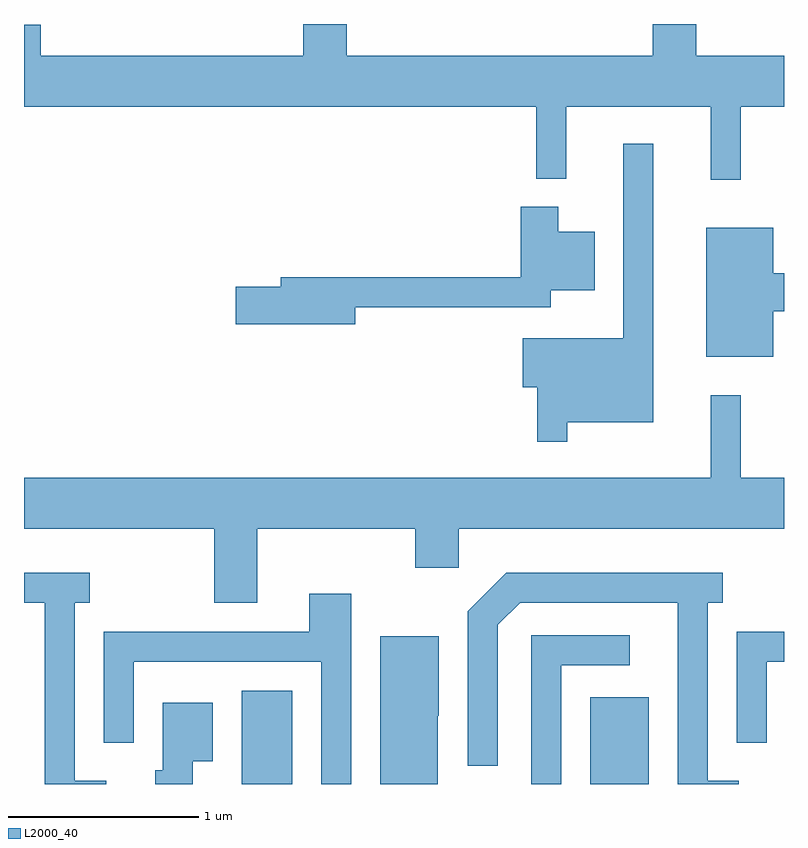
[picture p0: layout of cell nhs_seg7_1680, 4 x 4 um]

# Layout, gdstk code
import gdstk
lib = gdstk.Library(unit=1e-6, precision=1e-09)
def R(c, l, rs):  # rectangles x0, y0, x1, y1
    for r in rs: c.add(gdstk.rectangle(r[:2], r[2:], *l))
def P(c, l, *ps):  # polygons
    for p in ps: c.add(gdstk.Polygon(p, *l))
L2000_40 = (2000, 40)

nhs_seg7_1680 = lib.new_cell('nhs_seg7_1680')
R(nhs_seg7_1680, L2000_40, [(236.756,1766.252,237.024,1766.744), (238.591,1766.252,238.899,1766.709)])
P(nhs_seg7_1680, L2000_40, [(239.384,1769.816),(239.611,1769.816),(239.611,1770.084),(239.149,1770.084),(239.149,1770.252),(238.921,1770.252),(238.921,1770.084),(237.309,1770.084),(237.309,1770.252),(237.081,1770.252),(237.081,1770.084),(235.699,1770.084),(235.699,1770.249),(235.611,1770.249),(235.611,1769.816),(238.306,1769.816),(238.306,1769.438),(238.464,1769.438),(238.464,1769.816),(239.226,1769.816),(239.226,1769.433),(239.384,1769.433)],
  [(238.469,1768.156),(238.924,1768.156),(238.924,1769.623),(238.766,1769.623),(238.766,1768.599),(238.236,1768.599),(238.236,1768.341),(238.311,1768.341),(238.311,1768.053),(238.469,1768.053)],
  [(237.354,1768.761),(238.384,1768.761),(238.384,1768.851),(238.614,1768.851),(238.614,1769.159),(238.424,1769.159),(238.424,1769.289),(238.226,1769.289),(238.226,1768.919),(236.961,1768.919),(236.961,1768.869),(236.726,1768.869),(236.726,1768.671),(237.354,1768.671)],
  [(239.554,1768.741),(239.611,1768.741),(239.611,1768.939),(239.554,1768.939),(239.554,1769.179),(239.201,1769.179),(239.201,1768.501),(239.554,1768.501)],
  [(236.839,1767.596),(237.671,1767.596),(237.671,1767.391),(237.899,1767.391),(237.899,1767.596),(239.611,1767.596),(239.611,1767.864),(239.384,1767.864),(239.384,1768.298),(239.226,1768.298),(239.226,1767.864),(235.611,1767.864),(235.611,1767.596),(236.611,1767.596),(236.611,1767.206),(236.839,1767.206)],
  [(239.373,1766.269),(239.209,1766.269),(239.209,1767.206),(239.288,1767.206),(239.288,1767.364),(238.149,1767.364),(237.946,1767.162),(237.946,1766.348),(238.104,1766.348),(238.104,1767.089),(238.222,1767.206),(239.051,1767.206),(239.051,1766.252),(239.373,1766.252)],
  [(236.043,1766.269),(235.879,1766.269),(235.879,1767.206),(235.958,1767.206),(235.958,1767.364),(235.611,1767.364),(235.611,1767.206),(235.721,1767.206),(235.721,1766.252),(236.043,1766.252)],
  [(237.334,1767.254),(237.111,1767.254),(237.111,1767.054),(236.031,1767.054),(236.031,1766.468),(236.189,1766.468),(236.189,1766.896),(237.176,1766.896),(237.176,1766.252),(237.334,1766.252)],
  [(239.519,1766.896),(239.611,1766.896),(239.611,1767.054),(239.361,1767.054),(239.361,1766.468),(239.519,1766.468)],
  [(238.439,1766.876),(238.798,1766.876),(238.798,1767.034),(238.281,1767.034),(238.281,1766.252),(238.439,1766.252)],
  [(237.789,1766.61),(237.794,1766.61),(237.794,1767.029),(237.486,1767.029),(237.486,1766.252),(237.789,1766.252)],
  [(236.499,1766.371),(236.604,1766.371),(236.604,1766.679),(236.341,1766.679),(236.341,1766.324),(236.301,1766.324),(236.301,1766.252),(236.499,1766.252)])

lib.write_gds('nhs_seg7_1680.gds')
